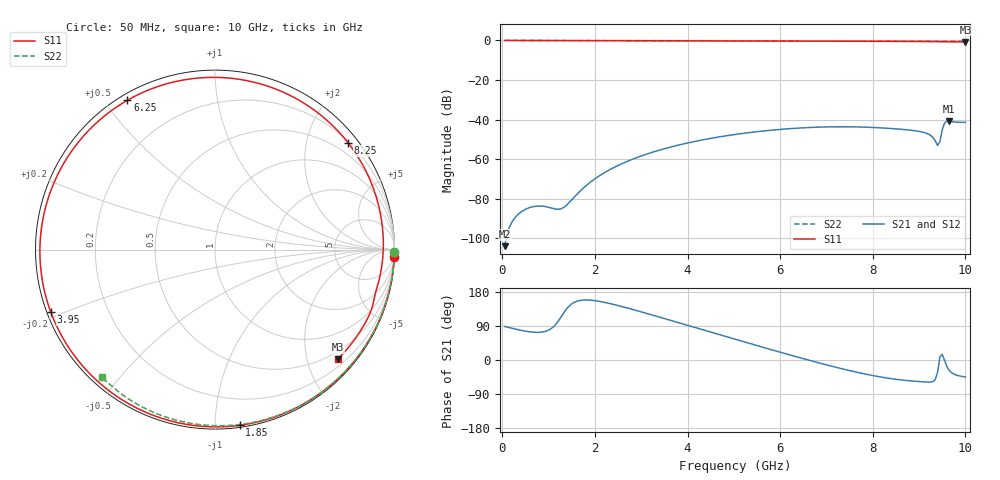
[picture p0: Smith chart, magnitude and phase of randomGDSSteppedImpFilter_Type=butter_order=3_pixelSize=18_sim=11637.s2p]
! freq	dB(S11)	phase(S11)	dB(S12)	phase(S12)
!  dB(S21)	phase(S21)	dB(S22)	phase(S22)
!S-par simulation data
#  GHz  S  DB  R 50
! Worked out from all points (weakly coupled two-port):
!   200 points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, 50 MHz to 10 GHz, reference 50 ohm
!   highest |S21| = -40.79 dB at 9.65 GHz (marker M1); lowest = -103.9 dB at 50 MHz (marker M2)
!   lowest |S11| = -0.8 dB at 10 GHz (marker M3), VSWR 22.91, Z = 17 - j129 ohm
!   |S11| at or under -10 dB: nowhere
!   |S22| runs from -0.4 to 0.0 dB; largest |S21 - S12| = 0
!   S11 on the Smith chart (normalised r, x): 50 MHz: 0, -49; 1.85 GHz: 0.01, -1.15; 3.95 GHz: 0.01, -0.18; 6.25 GHz: 0.02, +0.57; 8.25 GHz: 0.23, +2.83; 10 GHz: 0.34, -2.58
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0.05  -0.00 -2.4  -103.89 88.5  -103.89 88.5  -0.00 -0.8
0.7  -0.04 -32.4  -83.80 73.1  -83.80 73.1  -0.01 -10.6
1.5  -0.08 -67.5  -80.47 148.2  -80.47 148.2  -0.03 -22.6
1.75  -0.09 -77.9  -74.55 158.2  -74.55 158.2  -0.03 -26.3
1.85  -0.10 -82.0  -72.54 158.3  -72.54 158.3  -0.04 -27.7
2.5  -0.13 -107.5  -63.13 143.7  -63.13 143.7  -0.05 -37.2
3.4  -0.16 -140.1  -55.34 113.0  -55.34 113.0  -0.07 -50.0
3.95  -0.18 -159.1  -52.04 93.3  -52.04 93.3  -0.08 -57.6
5.05  -0.24 163.3  -47.40 53.9  -47.40 53.9  -0.11 -72.4
6.25  -0.31 120.4  -44.47 12.0  -44.47 12.0  -0.16 -87.7
6.7  -0.34 103.2  -43.89 -3.1  -43.89 -3.1  -0.18 -93.3
7.45  -0.38 73.0  -43.59 -26.6  -43.59 -26.6  -0.22 -102.3
8.25  -0.44 38.7  -44.24 -46.5  -44.24 -46.5  -0.28 -111.8
8.35  -0.45 34.3  -44.39 -48.4  -44.39 -48.4  -0.29 -112.9
9.15  -0.57 -1.7  -46.79 -58.1  -46.79 -58.1  -0.36 -122.2
9.3  -0.62 -8.6  -49.04 -56.7  -49.04 -56.7  -0.38 -123.9
9.4  -0.66 -13.0  -53.05 -32.1  -53.05 -32.1  -0.39 -125.1
9.45  -0.67 -15.1  -51.09 8.3  -51.09 8.3  -0.41 -125.6
9.5  -0.65 -17.2  -45.10 15.1  -45.10 15.1  -0.42 -126.1
9.55  -0.61 -19.6  -41.71 -1.2  -41.71 -1.2  -0.42 -126.6
9.65  -0.61 -24.7  -40.79 -27.1  -40.79 -27.1  -0.42 -127.7
10  -0.76 -41.8  -41.32 -44.8  -41.32 -44.8  -0.45 -131.7
